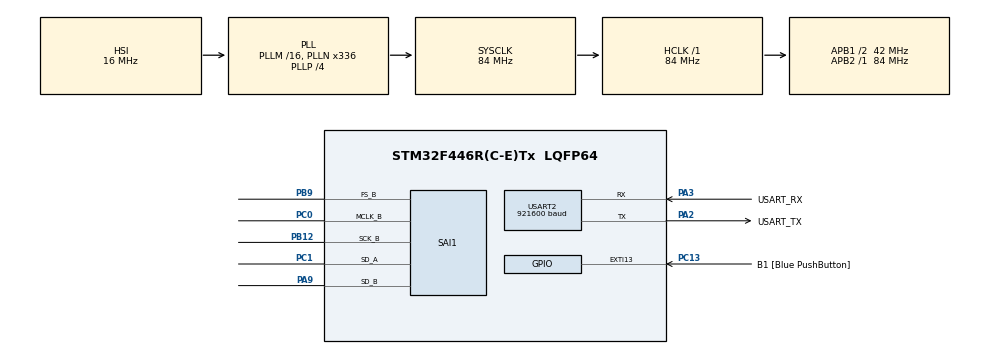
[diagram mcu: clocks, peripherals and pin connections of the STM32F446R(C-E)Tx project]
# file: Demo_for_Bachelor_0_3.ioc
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Dma.Request0=SAI1_A
Dma.Request1=SAI1_B
Dma.SAI1_A.0.Direction=DMA_PERIPH_TO_MEMORY
Dma.SAI1_A.0.FIFOMode=DMA_FIFOMODE_DISABLE
Dma.SAI1_A.0.Instance=DMA2_Stream1
Dma.SAI1_A.0.MemDataAlignment=DMA_MDATAALIGN_HALFWORD
Dma.SAI1_A.0.MemInc=DMA_MINC_ENABLE
Dma.SAI1_A.0.Mode=DMA_CIRCULAR
Dma.SAI1_A.0.PeriphDataAlignment=DMA_PDATAALIGN_HALFWORD
Dma.SAI1_A.0.PeriphInc=DMA_PINC_DISABLE
Dma.SAI1_A.0.Priority=DMA_PRIORITY_LOW
Dma.SAI1_B.1.Direction=DMA_PERIPH_TO_MEMORY
Dma.SAI1_B.1.FIFOMode=DMA_FIFOMODE_DISABLE
Dma.SAI1_B.1.Instance=DMA2_Stream4
Dma.SAI1_B.1.MemDataAlignment=DMA_MDATAALIGN_HALFWORD
Dma.SAI1_B.1.MemInc=DMA_MINC_ENABLE
Dma.SAI1_B.1.Mode=DMA_CIRCULAR
Dma.SAI1_B.1.PeriphDataAlignment=DMA_PDATAALIGN_HALFWORD
Dma.SAI1_B.1.PeriphInc=DMA_PINC_DISABLE
Dma.SAI1_B.1.Priority=DMA_PRIORITY_LOW
Mcu.Family=STM32F4
Mcu.Name=STM32F446R(C-E)Tx
Mcu.Package=LQFP64
NVIC.DMA2_Stream1_IRQn=true\:0\:0\:false\:false\:true\:false\:true\:true
NVIC.DMA2_Stream4_IRQn=true\:0\:0\:false\:false\:true\:false\:true\:true
NVIC.PriorityGroup=NVIC_PRIORITYGROUP_0
PA13.GPIO_Label=TMS
PA13.Mode=Serial_Wire
PA13.Signal=SYS_JTMS-SWDIO
PA14.GPIO_Label=TCK
PA14.Mode=Serial_Wire
PA14.Signal=SYS_JTCK-SWCLK
PA2.GPIO_Label=USART_TX
PA2.Mode=Asynchronous
PA2.Signal=USART2_TX
PA3.GPIO_Label=USART_RX
PA3.Mode=Asynchronous
PA3.Signal=USART2_RX
PA9.Mode=SAI_B_MasterWithClock
PA9.Signal=SAI1_SD_B
PB12.Mode=SAI_B_MasterWithClock
PB12.Signal=SAI1_SCK_B
PB3.GPIO_Label=SWO
PB3.Signal=SYS_JTDO-SWO
PB9.Mode=SAI_B_MasterWithClock
PB9.Signal=SAI1_FS_B
PC0.Mode=SAI_B_MasterWithClock
PC0.Signal=SAI1_MCLK_B
PC1.Mode=SAI_A_SyncSlave
PC1.Signal=SAI1_SD_A
PC13.GPIO_Label=B1 [Blue PushButton]
PC13.GPIO_ModeDefaultEXTI=GPIO_MODE_IT_FALLING
PC13.Signal=GPXTI13
PC14-OSC32_IN.Mode=LSE-External-Oscillator
PC14-OSC32_IN.Signal=RCC_OSC32_IN
PC15-OSC32_OUT.Mode=LSE-External-Oscillator
PC15-OSC32_OUT.Signal=RCC_OSC32_OUT
PDM2PCM.CHANNEL1_bit_order=PDM_FILTER_BIT_ORDER_MSB
PDM2PCM.CHANNEL1_in_ptr_channels=1
PDM2PCM.CHANNEL1_out_ptr_channels=1
PDM2PCM.NbCHANNEL=1
PH0-OSC_IN.Mode=HSE-External-Oscillator
PH0-OSC_IN.Signal=RCC_OSC_IN
PH1-OSC_OUT.Mode=HSE-External-Oscillator
PH1-OSC_OUT.Signal=RCC_OSC_OUT
ProjectManager.HeapSize=0x200
ProjectManager.StackSize=0x400
ProjectManager.TargetToolchain=STM32CubeIDE
RCC.48MHZClocksFreq_Value=84000000
RCC.AHBFreq_Value=84000000
RCC.APB1CLKDivider=RCC_HCLK_DIV2
RCC.APB1Freq_Value=42000000
RCC.APB1TimFreq_Value=84000000
RCC.APB2Freq_Value=84000000
RCC.APB2TimFreq_Value=84000000
RCC.CortexFreq_Value=84000000
RCC.FLatency-AdvancedSettings=FLASH_LATENCY_2
RCC.HCLKFreq_Value=84000000
RCC.HSE_VALUE=8000000
RCC.HSI_VALUE=16000000
RCC.PLLN=336
RCC.PLLP=RCC_PLLP_DIV4
RCC.SYSCLKFreq_VALUE=84000000
RCC.SYSCLKSource=RCC_SYSCLKSOURCE_PLLCLK
RCC.USBFreq_Value=168000000
RCC.VCOOutputFreq_Value=336000000
SAI1.AudioMode-SAI_B_MasterWithClock=SAI_MODEMASTER_RX
SAI1.ClockStrobing-SAI_B_MasterWithClock=SAI_CLOCKSTROBING_FALLINGEDGE
SAI1.ErrorAudioFreq-SAI_B_MasterWithClock=-2.34 %
SAI1.FrameLength-SAI_A_SyncSlave=16
SAI1.FrameLength-SAI_B_MasterWithClock=16
SAI1.Instance-SAI_A_SyncSlave=SAI$Index_Block_A
SAI1.Instance-SAI_B_MasterWithClock=SAI$Index_Block_B
SAI1.MClockEnable-SAI_B_MasterWithClock=SAI_MASTERCLOCK_ENABLE
SAI1.RealAudioFreq-SAI_B_MasterWithClock=187.5 KHz
SAI1.SlotActive-SAI_A_SyncSlave=0x00000003
SAI1.SlotActive-SAI_B_MasterWithClock=0x00000003
SAI1.SlotNumber-SAI_A_SyncSlave=2
SAI1.SlotNumber-SAI_B_MasterWithClock=2
SAI1.VirtualMode-SAI_A_SyncSlave=VM_SLAVE
SAI1.VirtualMode-SAI_B_MasterWithClock=VM_MASTER
SAI1.VirtualSlotActive-SAI_A_SyncSlave=SAI_SLOT_USERSETTING
SAI1.VirtualSlotActive-SAI_B_MasterWithClock=SAI_SLOT_USERSETTING
SAI1.VirtualSlotActive0-SAI_A_SyncSlave=true
SAI1.VirtualSlotActive0-SAI_B_MasterWithClock=true
SAI1.VirtualSlotActive1-SAI_A_SyncSlave=true
SAI1.VirtualSlotActive1-SAI_B_MasterWithClock=true
USART2.BaudRate=921600
USART2.VirtualMode=VM_ASYNC
VP_CRC_VS_CRC.Mode=CRC_Activate
VP_PDM2PCM_VS_PDM2PCM.Mode=PDM2PCM_Channel
board=NUCLEO-F446RE

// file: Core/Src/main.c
/* USER CODE BEGIN Header */
/**
  ******************************************************************************
  * @file           : main.c
  * @brief          : Main program body
  ******************************************************************************
  * @attention
  *
  * Copyright (c) 2026 STMicroelectronics.
  * All rights reserved.
  *
  * This software is licensed under terms that can be found in the LICENSE file
  * in the root directory of this software component.
  * If no LICENSE file comes with this software, it is provided AS-IS.
  *
  ******************************************************************************
  */
/* USER CODE END Header */
#include "main.h"
#include "pdm2pcm.h"

/* USER CODE BEGIN Includes */

//#include "pdm2pcm_glo.h"
/* USER CODE END Includes */

/* USER CODE BEGIN PD */
#define PDM_BUF_LEN 64 // allocates a buffer in RAM of 256 elemetns of type uint16_t (16-bit per element)
#define OUTPUT_SAMPLES 16
#define PDM_DMA_BYTES 256
/* USER CODE END PD */

CRC_HandleTypeDef hcrc;

SAI_HandleTypeDef hsai_BlockA1;
SAI_HandleTypeDef hsai_BlockB1;
DMA_HandleTypeDef hdma_sai1_a;
DMA_HandleTypeDef hdma_sai1_b;

UART_HandleTypeDef huart2;

/* USER CODE BEGIN PV */

/*
uint8_t pdm_buf[PDM_BUF_LEN];
int16_t pcm_buf_half[OUTPUT_SAMPLES];
int16_t pcm_buf_full[OUTPUT_SAMPLES];
volatile uint8_t pdm_half_ready = 0; // has to use volatilebecause the variable can change at any time outside of the codes control
volatile uint8_t pdm_full_ready = 0;
uint16_t sync = 0xA55A; // marks start of a sequence 5A A5, little endinan, least sig first, Ax16^3 + 5x16^2 + 5x16^1 + Ax16^0 so 5A A5, for msb A5 5A
*/

#define PDM_RX_WORDS   128          // must match your pdmRxBuf[128]
//volatile uint8_t sai_rxstate = 0;   // 1 = half, 2 = full
//volatile uint8_t sai_pdm12_rxstate = 0;
//volatile uint8_t sai_pdm34_rxstate = 0;
volatile uint8_t sai_pdm12_half_ready = 0;
volatile uint8_t sai_pdm12_full_ready = 0;
volatile uint8_t sai_pdm34_half_ready = 0;
volatile uint8_t sai_pdm34_full_ready = 0;

uint16_t pdm12_buf[PDM_DMA_BYTES * 2];   // mics 1+2
uint16_t pdm34_buf[PDM_DMA_BYTES * 2];   // mics 3+4
int16_t pcm1[OUTPUT_SAMPLES];
int16_t pcm2[OUTPUT_SAMPLES];
int16_t pcm3[OUTPUT_SAMPLES];
int16_t pcm4[OUTPUT_SAMPLES];

//uint16_t txBuf[128];
//uint8_t pdmRxBuf[PDM_DMA_BYTES];
int16_t MidBuffer[16];
//uint8_t txstate = 0;
//uint8_t rxstate = 0;

uint16_t fifobuf[256];
uint8_t fifo_w_ptr = 0;
uint8_t fifo_r_ptr = 0;
uint8_t fifo_read_enabled = 0;

void FifoWrite(uint16_t data){
	fifobuf[fifo_w_ptr] = data;
	fifo_w_ptr++;
}

uint16_t FifoRead(){
	uint16_t val = fifobuf[fifo_r_ptr];
	fifo_r_ptr++;
	return val;
}
/* USER CODE END PV */

void SystemClock_Config(void);
void PeriphCommonClock_Config(void);
static void MX_GPIO_Init(void);
static void MX_DMA_Init(void);
static void MX_USART2_UART_Init(void);
static void MX_CRC_Init(void);
static void MX_SAI1_Init(void);

/* USER CODE BEGIN 0 */
void UART_Send_PCM_2CH(int16_t *ch1, int16_t *ch2, uint16_t n)
{
    uint16_t sync = 0xA55A;

    HAL_UART_Transmit(&huart2, (uint8_t *)&sync, 2, HAL_MAX_DELAY);

    for (uint16_t i = 0; i < n; i++){
    HAL_UART_Transmit(&huart2, (uint8_t *)&ch1[i], 2, HAL_MAX_DELAY);
    HAL_UART_Transmit(&huart2, (uint8_t *)&ch2[i], 2, HAL_MAX_DELAY);
    }
}

void UART_Send_PCM_4CH(int16_t *ch1, int16_t *ch2, int16_t *ch3, int16_t *ch4, uint16_t n){
	uint16_t sync = 0xA55A;

	HAL_UART_Transmit(&huart2, (uint8_t *)&sync, 2, HAL_MAX_DELAY);
	for (uint16_t i = 0; i < n; i++){
		HAL_UART_Transmit(&huart2, (uint8_t *)&ch1[i], 2, HAL_MAX_DELAY);
		HAL_UART_Transmit(&huart2, (uint8_t *)&ch2[i], 2, HAL_MAX_DELAY);
		HAL_UART_Transmit(&huart2, (uint8_t *)&ch3[i], 2, HAL_MAX_DELAY);
		HAL_UART_Transmit(&huart2, (uint8_t *)&ch4[i], 2, HAL_MAX_DELAY);
	}
}
/* USER CODE END 0 */

int main(void)
{

  /* MCU Configuration--------------------------------------------------------*/

  /* Reset of all peripherals, Initializes the Flash interface and the Systick. */
  HAL_Init();

  /* Configure the system clock */
  SystemClock_Config();

  /* Configure the peripherals common clocks */
  PeriphCommonClock_Config();

  /* Initialize all configured peripherals */
  MX_GPIO_Init();
  MX_DMA_Init();
  MX_USART2_UART_Init();
  MX_CRC_Init();
  MX_PDM2PCM_Init();
  MX_SAI1_Init();
  /* USER CODE BEGIN 2 */

  const char test_msg[] = "UART_OK\r\n";
  HAL_UART_Transmit(&huart2, (uint8_t *)test_msg, sizeof(test_msg)-1, HAL_MAX_DELAY);

  //HAL_SAI_Receive_DMA(&hsai_BlockB1, (uint8_t*)pdmRxBuf, PDM_DMA_BYTES); // PDM_RX_WORDS*2
  HAL_SAI_Receive_DMA(&hsai_BlockB1, (uint8_t*)pdm12_buf, PDM_DMA_BYTES * 2);
  HAL_SAI_Receive_DMA(&hsai_BlockA1, (uint8_t*)pdm34_buf, PDM_DMA_BYTES * 2);

  //HAL_I2S_Transmit_DMA(&hi2s3, &txBuf[0],64);
  //HAL_I2S_Receive_DMA(&hi2s2, &pdmRxBuf[0],64);

  /* USER CODE END 2 */

  /* Infinite loop */
  /* USER CODE BEGIN WHILE */
  while (1)
  {

	  if (sai_pdm12_half_ready && sai_pdm34_half_ready){
		  sai_pdm12_half_ready = 0;
		  sai_pdm34_half_ready= 0;

		  PDM_Filter((uint8_t*)&pdm12_buf[0], pcm1, &PDM1_filter_handler);
		  PDM_Filter((uint8_t*)&pdm12_buf[0], pcm2, &PDM2_filter_handler);
		  PDM_Filter((uint8_t*)&pdm34_buf[0], pcm3, &PDM3_filter_handler);
		  PDM_Filter((uint8_t*)&pdm34_buf[0], pcm4, &PDM4_filter_handler);
		  //UART_Send_PCM_4CH(pcm1,pcm2,pcm3, pcm4, OUTPUT_SAMPLES);
		  UART_Send_PCM_2CH(pcm1, pcm4, OUTPUT_SAMPLES);
	  }

	  if (sai_pdm12_full_ready && sai_pdm34_full_ready){
		  sai_pdm12_full_ready = 0;
		  sai_pdm34_full_ready = 0;

	      PDM_Filter((uint8_t*)&pdm12_buf[PDM_DMA_BYTES], pcm1, &PDM1_filter_handler);
	      PDM_Filter((uint8_t*)&pdm12_buf[PDM_DMA_BYTES], pcm2, &PDM2_filter_handler);
	      PDM_Filter((uint8_t*)&pdm34_buf[PDM_DMA_BYTES], pcm3, &PDM3_filter_handler);
	      PDM_Filter((uint8_t*)&pdm34_buf[PDM_DMA_BYTES], pcm4, &PDM4_filter_handler);
	      //UART_Send_PCM_4CH(pcm1,pcm2,pcm3, pcm4, OUTPUT_SAMPLES);
	      UART_Send_PCM_2CH(pcm1, pcm4, OUTPUT_SAMPLES);
	      }
/*
	  if (sai_pdm34_rxstate == 1){
	  		sai_pdm34_rxstate = 0;

	  		PDM_Filter((uint8_t*)&pdm34_buf[0], pcm3, &PDM3_filter_handler);
	  		PDM_Filter((uint8_t*)&pdm34_buf[0], pcm4, &PDM4_filter_handler);
	  		UART_Send_PCM_2CH(pcm3, pcm4, 16);

	  	  }
	  if (sai_pdm34_rxstate == 2){
		  sai_pdm34_rxstate = 0;

		  PDM_Filter((uint8_t*)&pdm34_buf[PDM_DMA_BYTES], pcm3, &PDM3_filter_handler);
	      PDM_Filter((uint8_t*)&pdm34_buf[PDM_DMA_BYTES], pcm4, &PDM4_filter_handler);
	      UART_Send_PCM_2CH(pcm3, pcm4, 16);
	      }
*/

	  // Synthetic data
	 /* static uint32_t t = 0;
	  if (HAL_GetTick() - t > 1000) {
	      t = HAL_GetTick();
	      int16_t test[4] = {1000, -1000, 500, -500};
	      UART_Send_PCM_Frame(test, 4);
	  }
*/
/*// One mic
	  if (sai_rxstate ==1){
		  sai_rxstate = 0;
		  PDM_Filter(&pdmRxBuf[0], (uint16_t*)MidBuffer, &PDM1_filter_handler);
		  UART_Send_PCM_Frame(MidBuffer, 16);
		  //for (int i=0; i<16; i++){FifoWrite(MidBuffer[i]);}
		  //if (fifo_w_ptr-fifo_r_ptr > 128) fifo_read_enabled = 1;

	  }

	  if (sai_rxstate ==2){
		  sai_rxstate = 0;
		  PDM_Filter(&pdmRxBuf[PDM_DMA_BYTES/2], (uint16_t*)MidBuffer, &PDM1_filter_handler);
	  		  //PDM_Filter(&pdmRxBuf[64], &MidBuffer[0], &PDM1_filter_handler);
		  UART_Send_PCM_Frame(MidBuffer, 16);
	  		  //for (int i=0; i<16; i++){FifoWrite(MidBuffer[i]);}

	  }
	  */

	  /*
	  if (txstate ==1){
	  		  if (fifo_read_enabled == 1){
	  			  for (int i=0; i<64; i=i+4){
	  				  uint16_t data = FifoRead();
	  				  txBuf[i] = data;
	  				  txBuf[i+2] = data;

	  		  }

	  	  }
	  		  txstate = 0;
	  }
	  if (txstate ==2){
	  	  		  if (fifo_read_enabled == 1){
	  	  			  for (int i=64; i<128; i=i+4){
	  	  				  uint16_t data = FifoRead();
	  	  				  txBuf[i] = data;
	  	  				  txBuf[i+2] = data;

	  	  		  }

	  	  	  }
	  	  		  txstate = 0;
	  	  }
	  	  */

    /* USER CODE END WHILE */

  }
}

void SystemClock_Config(void)
{
  RCC_OscInitTypeDef RCC_OscInitStruct = {0};
  RCC_ClkInitTypeDef RCC_ClkInitStruct = {0};

  /** Configure the main internal regulator output voltage
  */
  __HAL_RCC_PWR_CLK_ENABLE();
  __HAL_PWR_VOLTAGESCALING_CONFIG(PWR_REGULATOR_VOLTAGE_SCALE3);

  /** Initializes the RCC Oscillators according to the specified parameters
  * in the RCC_OscInitTypeDef structure.
  */
  RCC_OscInitStruct.OscillatorType = RCC_OSCILLATORTYPE_HSI;
  RCC_OscInitStruct.HSIState = RCC_HSI_ON;
  RCC_OscInitStruct.HSICalibrationValue = RCC_HSICALIBRATION_DEFAULT;
  RCC_OscInitStruct.PLL.PLLState = RCC_PLL_ON;
  RCC_OscInitStruct.PLL.PLLSource = RCC_PLLSOURCE_HSI;
  RCC_OscInitStruct.PLL.PLLM = 16;
  RCC_OscInitStruct.PLL.PLLN = 336;
  RCC_OscInitStruct.PLL.PLLP = RCC_PLLP_DIV4;
  RCC_OscInitStruct.PLL.PLLQ = 2;
  RCC_OscInitStruct.PLL.PLLR = 2;
  if (HAL_RCC_OscConfig(&RCC_OscInitStruct) != HAL_OK)
  {
    Error_Handler();
  }

  /** Initializes the CPU, AHB and APB buses clocks
  */
  RCC_ClkInitStruct.ClockType = RCC_CLOCKTYPE_HCLK|RCC_CLOCKTYPE_SYSCLK
                              |RCC_CLOCKTYPE_PCLK1|RCC_CLOCKTYPE_PCLK2;
  RCC_ClkInitStruct.SYSCLKSource = RCC_SYSCLKSOURCE_PLLCLK;
  RCC_ClkInitStruct.AHBCLKDivider = RCC_SYSCLK_DIV1;
  RCC_ClkInitStruct.APB1CLKDivider = RCC_HCLK_DIV2;
  RCC_ClkInitStruct.APB2CLKDivider = RCC_HCLK_DIV1;

  if (HAL_RCC_ClockConfig(&RCC_ClkInitStruct, FLASH_LATENCY_2) != HAL_OK)
  {
    Error_Handler();
  }
}

void PeriphCommonClock_Config(void)
{
  RCC_PeriphCLKInitTypeDef PeriphClkInitStruct = {0};

  /** Initializes the peripherals clock
  */
  PeriphClkInitStruct.PeriphClockSelection = RCC_PERIPHCLK_SAI1;
  PeriphClkInitStruct.PLLSAI.PLLSAIM = 16;
  PeriphClkInitStruct.PLLSAI.PLLSAIN = 192;
  PeriphClkInitStruct.PLLSAI.PLLSAIQ = 2;
  PeriphClkInitStruct.PLLSAI.PLLSAIP = RCC_PLLSAIP_DIV2;
  PeriphClkInitStruct.PLLSAIDivQ = 1;
  PeriphClkInitStruct.Sai1ClockSelection = RCC_SAI1CLKSOURCE_PLLSAI;
  if (HAL_RCCEx_PeriphCLKConfig(&PeriphClkInitStruct) != HAL_OK)
  {
    Error_Handler();
  }
}

static void MX_CRC_Init(void)
{

  hcrc.Instance = CRC;
  if (HAL_CRC_Init(&hcrc) != HAL_OK)
  {
    Error_Handler();
  }
  __HAL_CRC_DR_RESET(&hcrc);

}

static void MX_SAI1_Init(void)
{

  hsai_BlockA1.Instance = SAI1_Block_A;
  hsai_BlockA1.Init.Protocol = SAI_FREE_PROTOCOL;
  hsai_BlockA1.Init.AudioMode = SAI_MODESLAVE_RX;
  hsai_BlockA1.Init.DataSize = SAI_DATASIZE_8;
  hsai_BlockA1.Init.FirstBit = SAI_FIRSTBIT_MSB;
  hsai_BlockA1.Init.ClockStrobing = SAI_CLOCKSTROBING_FALLINGEDGE;
  hsai_BlockA1.Init.Synchro = SAI_SYNCHRONOUS;
  hsai_BlockA1.Init.OutputDrive = SAI_OUTPUTDRIVE_DISABLE;
  hsai_BlockA1.Init.FIFOThreshold = SAI_FIFOTHRESHOLD_EMPTY;
  hsai_BlockA1.Init.SynchroExt = SAI_SYNCEXT_DISABLE;
  hsai_BlockA1.Init.MonoStereoMode = SAI_STEREOMODE;
  hsai_BlockA1.Init.CompandingMode = SAI_NOCOMPANDING;
  hsai_BlockA1.Init.TriState = SAI_OUTPUT_NOTRELEASED;
  hsai_BlockA1.FrameInit.FrameLength = 16;
  hsai_BlockA1.FrameInit.ActiveFrameLength = 1;
  hsai_BlockA1.FrameInit.FSDefinition = SAI_FS_STARTFRAME;
  hsai_BlockA1.FrameInit.FSPolarity = SAI_FS_ACTIVE_LOW;
  hsai_BlockA1.FrameInit.FSOffset = SAI_FS_FIRSTBIT;
  hsai_BlockA1.SlotInit.FirstBitOffset = 0;
  hsai_BlockA1.SlotInit.SlotSize = SAI_SLOTSIZE_DATASIZE;
  hsai_BlockA1.SlotInit.SlotNumber = 2;
  hsai_BlockA1.SlotInit.SlotActive = 0x00000003;
  if (HAL_SAI_Init(&hsai_BlockA1) != HAL_OK)
  {
    Error_Handler();
  }
  hsai_BlockB1.Instance = SAI1_Block_B;
  hsai_BlockB1.Init.Protocol = SAI_FREE_PROTOCOL;
  hsai_BlockB1.Init.AudioMode = SAI_MODEMASTER_RX;
  hsai_BlockB1.Init.DataSize = SAI_DATASIZE_8;
  hsai_BlockB1.Init.FirstBit = SAI_FIRSTBIT_MSB;
  hsai_BlockB1.Init.ClockStrobing = SAI_CLOCKSTROBING_FALLINGEDGE;
  hsai_BlockB1.Init.Synchro = SAI_ASYNCHRONOUS;
  hsai_BlockB1.Init.OutputDrive = SAI_OUTPUTDRIVE_DISABLE;
  hsai_BlockB1.Init.NoDivider = SAI_MASTERDIVIDER_ENABLE;
  hsai_BlockB1.Init.FIFOThreshold = SAI_FIFOTHRESHOLD_EMPTY;
  hsai_BlockB1.Init.ClockSource = SAI_CLKSOURCE_NA;
  hsai_BlockB1.Init.AudioFrequency = SAI_AUDIO_FREQUENCY_192K;
  hsai_BlockB1.Init.SynchroExt = SAI_SYNCEXT_DISABLE;
  hsai_BlockB1.Init.MonoStereoMode = SAI_STEREOMODE;
  hsai_BlockB1.Init.CompandingMode = SAI_NOCOMPANDING;
  hsai_BlockB1.FrameInit.FrameLength = 16;
  hsai_BlockB1.FrameInit.ActiveFrameLength = 1;
  hsai_BlockB1.FrameInit.FSDefinition = SAI_FS_STARTFRAME;
  hsai_BlockB1.FrameInit.FSPolarity = SAI_FS_ACTIVE_LOW;
  hsai_BlockB1.FrameInit.FSOffset = SAI_FS_FIRSTBIT;
  hsai_BlockB1.SlotInit.FirstBitOffset = 0;
  hsai_BlockB1.SlotInit.SlotSize = SAI_SLOTSIZE_DATASIZE;
  hsai_BlockB1.SlotInit.SlotNumber = 2;
  hsai_BlockB1.SlotInit.SlotActive = 0x00000003;
  if (HAL_SAI_Init(&hsai_BlockB1) != HAL_OK)
  {
    Error_Handler();
  }

}

static void MX_USART2_UART_Init(void)
{

  huart2.Instance = USART2;
  huart2.Init.BaudRate = 921600;
  huart2.Init.WordLength = UART_WORDLENGTH_8B;
  huart2.Init.StopBits = UART_STOPBITS_1;
  huart2.Init.Parity = UART_PARITY_NONE;
  huart2.Init.Mode = UART_MODE_TX_RX;
  huart2.Init.HwFlowCtl = UART_HWCONTROL_NONE;
  huart2.Init.OverSampling = UART_OVERSAMPLING_16;
  if (HAL_UART_Init(&huart2) != HAL_OK)
  {
    Error_Handler();
  }

}

static void MX_DMA_Init(void)
{

  /* DMA controller clock enable */
  __HAL_RCC_DMA2_CLK_ENABLE();

  /* DMA interrupt init */
  /* DMA2_Stream1_IRQn interrupt configuration */
  HAL_NVIC_SetPriority(DMA2_Stream1_IRQn, 0, 0);
  HAL_NVIC_EnableIRQ(DMA2_Stream1_IRQn);
  /* DMA2_Stream4_IRQn interrupt configuration */
  HAL_NVIC_SetPriority(DMA2_Stream4_IRQn, 0, 0);
  HAL_NVIC_EnableIRQ(DMA2_Stream4_IRQn);

}

static void MX_GPIO_Init(void)
{
  GPIO_InitTypeDef GPIO_InitStruct = {0};

  /* GPIO Ports Clock Enable */
  __HAL_RCC_GPIOC_CLK_ENABLE();
  __HAL_RCC_GPIOH_CLK_ENABLE();
  __HAL_RCC_GPIOA_CLK_ENABLE();
  __HAL_RCC_GPIOB_CLK_ENABLE();

  /*Configure GPIO pin : B1_Pin */
  GPIO_InitStruct.Pin = B1_Pin;
  GPIO_InitStruct.Mode = GPIO_MODE_IT_FALLING;
  GPIO_InitStruct.Pull = GPIO_NOPULL;
  HAL_GPIO_Init(B1_GPIO_Port, &GPIO_InitStruct);

}

/* USER CODE BEGIN 4 */

//Stops the other processes, so do not process and transmit the data here, do it in main instead, only stick to the flags here !
/*
void HAL_SAI_RxHalfCpltCallback(SAI_HandleTypeDef *hsai) // triggers when DMA has filled the first half of the circular buffer
{
	if (hsai == &hsai_BlockB1){ // will be needed when more SAI instances will be used
		pdm_half_ready = 1;
	}
}

void HAL_SAI_RxCpltCallback(SAI_HandleTypeDef *hsai){
	if (hsai == &hsai_BlockB1){
		pdm_full_ready = 1;
	}
}
*/
/*
void HAL_SAI_RxHalfCpltCallback(SAI_HandleTypeDef *hsai)
{
        sai_rxstate = 1;
}

void HAL_SAI_RxCpltCallback(SAI_HandleTypeDef *hsai)
{
        sai_rxstate = 2;
}
*/

void HAL_SAI_RxHalfCpltCallback(SAI_HandleTypeDef *hsai){
	if (hsai == &hsai_BlockB1){
		sai_pdm12_half_ready = 1;
	}
	if (hsai == &hsai_BlockA1){
		sai_pdm34_half_ready = 1;
	}
}

void HAL_SAI_RxCpltCallback(SAI_HandleTypeDef *hsai){
	if (hsai == &hsai_BlockB1){
		sai_pdm12_full_ready = 1;
	}
	if (hsai == &hsai_BlockA1){
		sai_pdm34_full_ready = 1;
	}
}

/* USER CODE END 4 */

void Error_Handler(void)
{
  __disable_irq();
  while (1)
  {
  }
}
